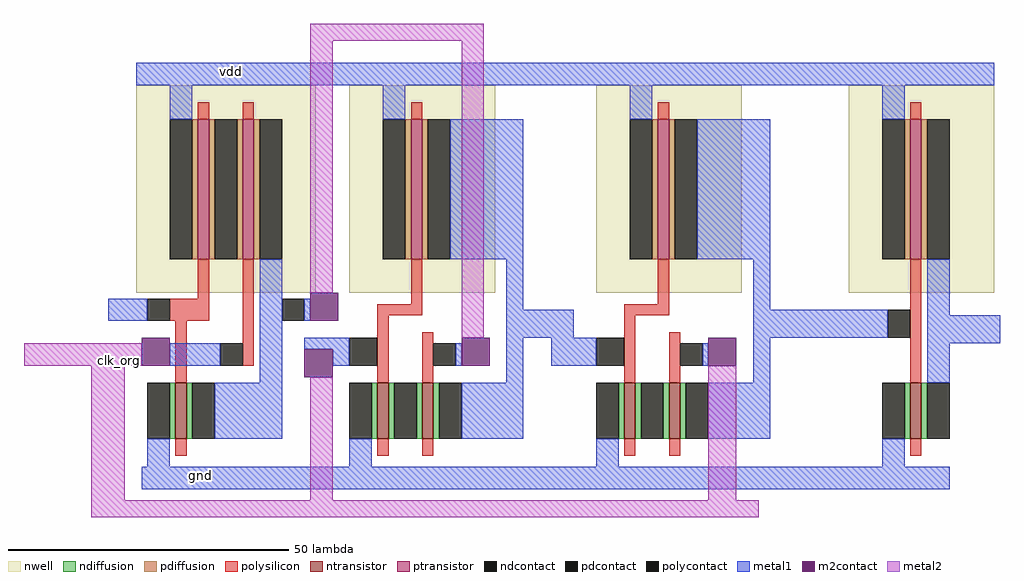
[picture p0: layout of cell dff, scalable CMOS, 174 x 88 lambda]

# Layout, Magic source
magic
tech scmos
<< nwell >>
rect -282 -111 -250 -74
rect -244 -111 -218 -74
rect -200 -111 -174 -74
rect -155 -111 -129 -74
<< ntransistor >>
rect -275 -137 -273 -127
rect -239 -137 -237 -127
rect -231 -137 -229 -127
rect -195 -137 -193 -127
rect -187 -137 -185 -127
rect -144 -137 -142 -127
<< ptransistor >>
rect -271 -105 -269 -80
rect -263 -105 -261 -80
rect -233 -105 -231 -80
rect -189 -105 -187 -80
rect -144 -105 -142 -80
<< ndiffusion >>
rect -276 -137 -275 -127
rect -273 -137 -272 -127
rect -240 -137 -239 -127
rect -237 -137 -236 -127
rect -232 -137 -231 -127
rect -229 -137 -228 -127
rect -196 -137 -195 -127
rect -193 -137 -192 -127
rect -188 -137 -187 -127
rect -185 -137 -184 -127
rect -145 -137 -144 -127
rect -142 -137 -141 -127
<< pdiffusion >>
rect -272 -105 -271 -80
rect -269 -105 -268 -80
rect -264 -105 -263 -80
rect -261 -105 -260 -80
rect -234 -105 -233 -80
rect -231 -105 -230 -80
rect -190 -105 -189 -80
rect -187 -105 -186 -80
rect -145 -105 -144 -80
rect -142 -105 -141 -80
<< ndcontact >>
rect -280 -137 -276 -127
rect -272 -137 -268 -127
rect -244 -137 -240 -127
rect -236 -137 -232 -127
rect -228 -137 -224 -127
rect -200 -137 -196 -127
rect -192 -137 -188 -127
rect -184 -137 -180 -127
rect -149 -137 -145 -127
rect -141 -137 -137 -127
<< pdcontact >>
rect -276 -105 -272 -80
rect -268 -105 -264 -80
rect -260 -105 -256 -80
rect -238 -105 -234 -80
rect -230 -105 -226 -80
rect -194 -105 -190 -80
rect -186 -105 -182 -80
rect -149 -105 -145 -80
rect -141 -105 -137 -80
<< polysilicon >>
rect -271 -80 -269 -77
rect -263 -80 -261 -77
rect -233 -80 -231 -77
rect -189 -80 -187 -77
rect -144 -80 -142 -77
rect -271 -112 -269 -105
rect -276 -116 -269 -112
rect -275 -127 -273 -116
rect -263 -124 -261 -105
rect -233 -113 -231 -105
rect -189 -113 -187 -105
rect -239 -115 -231 -113
rect -195 -115 -187 -113
rect -239 -127 -237 -115
rect -231 -127 -229 -118
rect -195 -127 -193 -115
rect -187 -127 -185 -118
rect -144 -127 -142 -105
rect -275 -140 -273 -137
rect -239 -140 -237 -137
rect -231 -140 -229 -137
rect -195 -140 -193 -137
rect -187 -140 -185 -137
rect -144 -140 -142 -137
<< polycontact >>
rect -280 -116 -276 -112
rect -267 -124 -263 -120
rect -256 -116 -252 -112
rect -244 -124 -239 -119
rect -229 -124 -225 -120
rect -200 -124 -195 -119
rect -148 -119 -144 -114
rect -185 -124 -181 -120
<< metal1 >>
rect -282 -74 -129 -70
rect -276 -80 -272 -74
rect -238 -80 -234 -74
rect -194 -80 -190 -74
rect -149 -80 -145 -74
rect -226 -105 -213 -80
rect -182 -105 -169 -80
rect -287 -116 -280 -112
rect -276 -124 -267 -120
rect -260 -127 -256 -105
rect -252 -116 -251 -112
rect -216 -114 -213 -105
rect -172 -114 -169 -105
rect -216 -119 -204 -114
rect -172 -119 -148 -114
rect -141 -115 -137 -105
rect -252 -121 -244 -119
rect -247 -124 -244 -121
rect -225 -124 -224 -120
rect -216 -127 -213 -119
rect -208 -124 -200 -119
rect -181 -124 -180 -120
rect -172 -127 -169 -119
rect -141 -120 -128 -115
rect -141 -127 -137 -120
rect -268 -137 -256 -127
rect -224 -137 -213 -127
rect -180 -137 -169 -127
rect -280 -142 -276 -137
rect -244 -142 -240 -137
rect -200 -142 -196 -137
rect -149 -142 -145 -137
rect -281 -146 -137 -142
<< m2contact >>
rect -281 -124 -276 -119
rect -251 -116 -246 -111
rect -252 -126 -247 -121
rect -224 -124 -219 -119
rect -180 -124 -175 -119
<< metal2 >>
rect -251 -66 -220 -63
rect -251 -111 -247 -66
rect -224 -119 -220 -66
rect -302 -124 -281 -120
rect -290 -148 -284 -124
rect -251 -148 -247 -126
rect -180 -148 -175 -124
rect -290 -151 -171 -148
<< labels >>
rlabel metal1 -272 -144 -269 -143 1 gnd
rlabel metal1 -266 -72 -264 -71 5 vdd
rlabel metal2 -285 -123 -285 -123 1 clk_org
<< end >>
